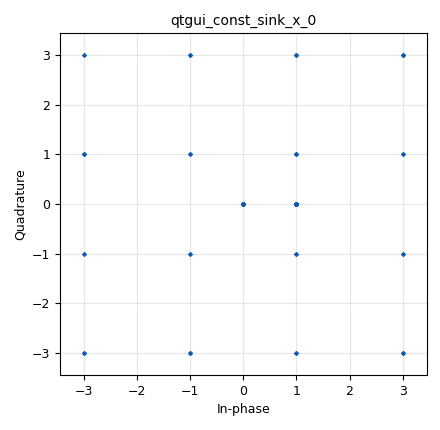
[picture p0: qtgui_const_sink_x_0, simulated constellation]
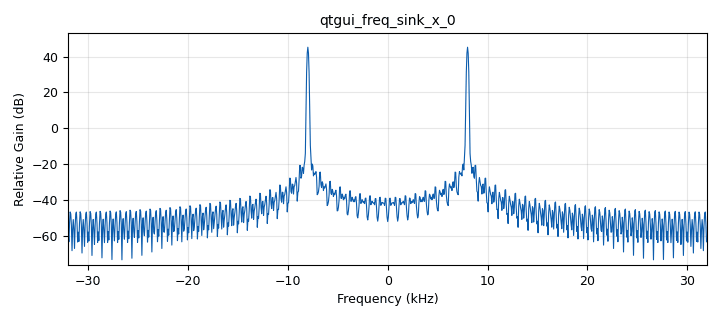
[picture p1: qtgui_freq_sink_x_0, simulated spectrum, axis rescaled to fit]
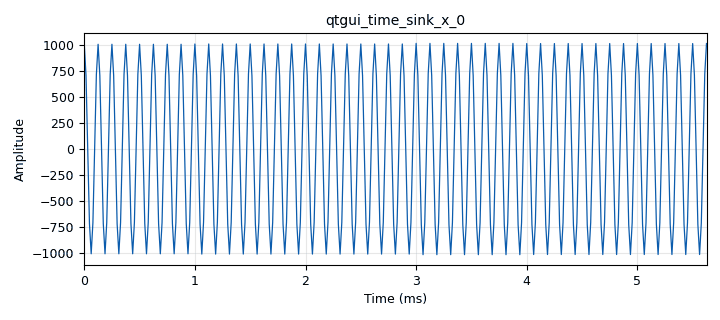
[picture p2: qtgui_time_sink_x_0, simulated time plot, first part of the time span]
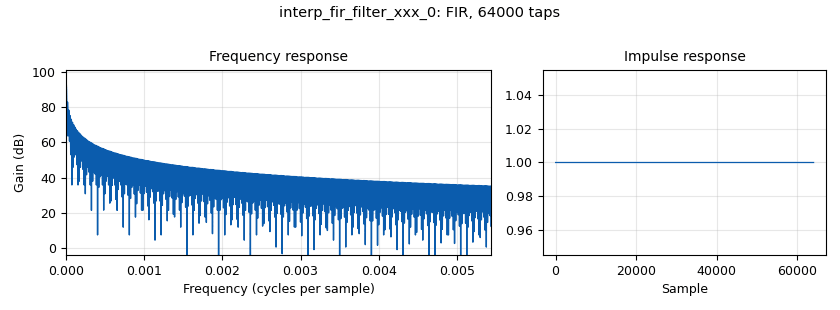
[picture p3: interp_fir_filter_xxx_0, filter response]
options:
  parameters:
    author: telkom
    generate_options: qt_gui
    id: qam
    output_language: python
    title: Not titled yet
  states: {}

blocks:
- name: M
  id: variable
  parameters:
    value: '64'
  states: {}
- name: fc
  id: variable
  parameters:
    value: '8000'
  states: {}
- name: qam64
  id: variable
  parameters:
    value: '[(complex(i, q) / 7.0) for q in [-7,-5,-3,-1,1,3,5,7] for i in [-7,-5,-3,-1,1,3,5,7]]'
  states: {}
- name: samp_rate
  id: variable
  parameters:
    value: '64000'
  states: {}
- name: analog_random_source_x_0
  id: analog_random_source_x
  parameters:
    max: '64'
    min: '0'
    num_samps: '1024'
    repeat: 'True'
    type: int
  states: {}
- name: analog_sig_source_x_0
  id: analog_sig_source_x
  parameters:
    amp: '1.414'
    freq: '8000'
    offset: '0'
    phase: '0'
    samp_rate: samp_rate
    type: complex
    waveform: analog.GR_COS_WAVE
  states: {}
- name: blocks_complex_to_real_0
  id: blocks_complex_to_real
  parameters: {}
  states: {}
- name: blocks_multiply_xx_0
  id: blocks_multiply_xx
  parameters:
    type: complex
  states: {}
- name: blocks_throttle2_0
  id: blocks_throttle2
  parameters:
    samples_per_second: samp_rate
    type: complex
  states: {}
- name: digital_chunks_to_symbols_xx_0
  id: digital_chunks_to_symbols_xx
  parameters:
    dimension: '1'
    in_type: int
    out_type: complex
    symbol_table: '[a+1j*b for a in [-3,-1,1,3] for b in [-3,-1,1,3]]'
  states: {}
- name: digital_chunks_to_symbols_xx_0_0
  id: digital_chunks_to_symbols_xx
  parameters:
    dimension: '1'
    in_type: int
    out_type: complex
    symbol_table: qam64
  states: {state: disabled}
- name: import_0
  id: import
  parameters:
    imports: import numpy
  states: {}
- name: interp_fir_filter_xxx_0
  id: interp_fir_filter_xxx
  parameters:
    interp: '64'
    taps: numpy.ones(samp_rate)
    type: ccc
  states: {}
- name: qtgui_const_sink_x_0
  id: qtgui_const_sink_x
  parameters:
    autoscale: 'True'
    size: '1024'
    type: complex
  states: {}
- name: qtgui_freq_sink_x_0
  id: qtgui_freq_sink_x
  parameters:
    bw: samp_rate
    fc: '0'
    fftsize: '1024'
    type: float
  states: {}
- name: qtgui_time_sink_x_0
  id: qtgui_time_sink_x
  parameters:
    autoscale: 'True'
    size: '1024'
    srate: samp_rate
    type: float
  states: {}
- name: virtual_sink_0
  id: virtual_sink
  parameters:
    stream_id: qam_baseband
  states: {}
- name: virtual_source_0
  id: virtual_source
  parameters:
    stream_id: qam_baseband
  states: {}

connections:
- [analog_random_source_x_0, '0', digital_chunks_to_symbols_xx_0, '0']
- [analog_random_source_x_0, '0', digital_chunks_to_symbols_xx_0_0, '0']
- [analog_sig_source_x_0, '0', blocks_multiply_xx_0, '1']
- [blocks_complex_to_real_0, '0', qtgui_freq_sink_x_0, '0']
- [blocks_complex_to_real_0, '0', qtgui_time_sink_x_0, '0']
- [blocks_multiply_xx_0, '0', blocks_complex_to_real_0, '0']
- [blocks_throttle2_0, '0', interp_fir_filter_xxx_0, '0']
- [digital_chunks_to_symbols_xx_0, '0', blocks_throttle2_0, '0']
- [digital_chunks_to_symbols_xx_0, '0', qtgui_const_sink_x_0, '0']
- [digital_chunks_to_symbols_xx_0_0, '0', blocks_throttle2_0, '0']
- [digital_chunks_to_symbols_xx_0_0, '0', qtgui_const_sink_x_0, '0']
- [interp_fir_filter_xxx_0, '0', virtual_sink_0, '0']
- [virtual_source_0, '0', blocks_multiply_xx_0, '0']

metadata:
  file_format: 1
  grc_version: 3.10.12.0
